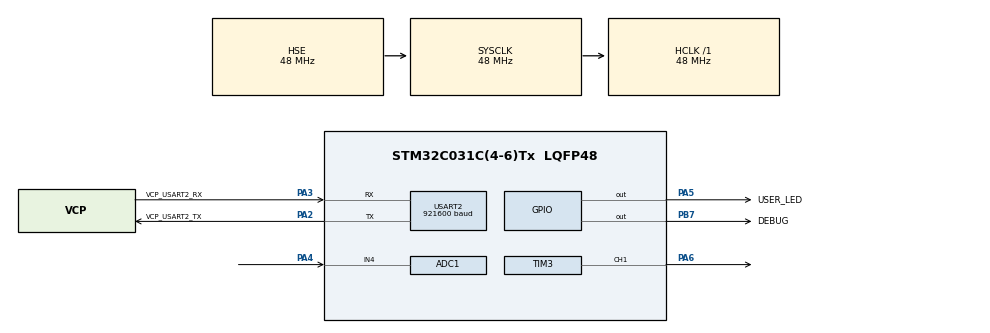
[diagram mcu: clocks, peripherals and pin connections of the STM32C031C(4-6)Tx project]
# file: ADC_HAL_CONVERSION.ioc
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ADC1.ClockPrescaler=ADC_CLOCK_ASYNC_DIV1
ADC1.ContinuousConvMode=ENABLE
ADC1.DMAContinuousRequests=DISABLE
ADC1.ExternalTrigConv=ADC_EXTERNALTRIG_T3_TRGO
ADC1.NbrOfConversionFlag=0
ADC1.Resolution=ADC_RESOLUTION_12B
ADC1.SamplingTimeCommon1=ADC_SAMPLETIME_39CYCLES_5
ADC1.SelectedChannel=ADC_CHANNEL_4
ADC1.master=1
Dma.ADC1.0.Direction=DMA_PERIPH_TO_MEMORY
Dma.ADC1.0.EventEnable=DISABLE
Dma.ADC1.0.Instance=DMA1_Channel2
Dma.ADC1.0.MemDataAlignment=DMA_MDATAALIGN_HALFWORD
Dma.ADC1.0.MemInc=DMA_MINC_ENABLE
Dma.ADC1.0.Mode=DMA_CIRCULAR
Dma.ADC1.0.PeriphDataAlignment=DMA_PDATAALIGN_HALFWORD
Dma.ADC1.0.PeriphInc=DMA_PINC_DISABLE
Dma.ADC1.0.Polarity=HAL_DMAMUX_REQ_GEN_RISING
Dma.ADC1.0.Priority=DMA_PRIORITY_LOW
Dma.ADC1.0.RequestNumber=1
Dma.ADC1.0.SignalID=NONE
Dma.ADC1.0.SyncEnable=DISABLE
Dma.ADC1.0.SyncPolarity=HAL_DMAMUX_SYNC_NO_EVENT
Dma.ADC1.0.SyncRequestNumber=1
Dma.ADC1.0.SyncSignalID=NONE
Dma.Request0=ADC1
Dma.Request1=USART2_TX
Dma.USART2_TX.1.Direction=DMA_MEMORY_TO_PERIPH
Dma.USART2_TX.1.EventEnable=DISABLE
Dma.USART2_TX.1.Instance=DMA1_Channel1
Dma.USART2_TX.1.MemDataAlignment=DMA_MDATAALIGN_BYTE
Dma.USART2_TX.1.MemInc=DMA_MINC_ENABLE
Dma.USART2_TX.1.Mode=DMA_NORMAL
Dma.USART2_TX.1.PeriphDataAlignment=DMA_PDATAALIGN_BYTE
Dma.USART2_TX.1.PeriphInc=DMA_PINC_DISABLE
Dma.USART2_TX.1.Polarity=HAL_DMAMUX_REQ_GEN_RISING
Dma.USART2_TX.1.Priority=DMA_PRIORITY_LOW
Dma.USART2_TX.1.RequestNumber=1
Dma.USART2_TX.1.SignalID=NONE
Dma.USART2_TX.1.SyncEnable=DISABLE
Dma.USART2_TX.1.SyncPolarity=HAL_DMAMUX_SYNC_NO_EVENT
Dma.USART2_TX.1.SyncRequestNumber=1
Dma.USART2_TX.1.SyncSignalID=NONE
Mcu.Family=STM32C0
Mcu.Name=STM32C031C(4-6)Tx
Mcu.Package=LQFP48
NVIC.ADC1_IRQn=true\:0\:0\:false\:false\:true\:true\:true\:true
NVIC.DMA1_Channel1_IRQn=true\:0\:0\:false\:false\:true\:false\:true\:true
NVIC.DMA1_Channel2_3_IRQn=true\:0\:0\:false\:false\:true\:false\:true\:true
PA13.GPIO_Label=DEBUG_SWDIO
PA13.Signal=DEBUG_SWDIO
PA14-BOOT0.GPIO_Label=DEBUG_SWCLK
PA14-BOOT0.Signal=DEBUG_SWCLK
PA2.GPIO_Label=VCP_USART2_TX
PA2.Mode=Asynchronous
PA2.Signal=USART2_TX
PA3.GPIO_Label=VCP_USART2_RX
PA3.Mode=Asynchronous
PA3.Signal=USART2_RX
PA4.Mode=IN4
PA4.Signal=ADC1_IN4
PA5.GPIO_Label=USER_LED
PA5.Signal=GPIO_Output
PA6.Signal=S_TIM3_CH1
PB7.GPIO_Label=DEBUG
PB7.Signal=GPIO_Output
PC14-OSCX_IN\ (PC14).GPIO_Label=RCC_OSCX_IN
PC14-OSCX_IN\ (PC14).Mode=LSE-External-Oscillator
PC14-OSCX_IN\ (PC14).Signal=RCC_OSCX_IN
PC15-OSCX_OUT\ (PC15).GPIO_Label=RCC_OSCX_OUT
PC15-OSCX_OUT\ (PC15).Mode=LSE-External-Oscillator
PC15-OSCX_OUT\ (PC15).Signal=RCC_OSCX_OUT
PF0-OSC_IN\ (PF0).GPIO_Label=RCC_OSC_IN
PF0-OSC_IN\ (PF0).Mode=HSE-External-Oscillator
PF0-OSC_IN\ (PF0).Signal=RCC_OSC_IN
PF1-OSC_OUT\ (PF1).GPIO_Label=RCC_OSC_OUT
PF1-OSC_OUT\ (PF1).Mode=HSE-External-Oscillator
PF1-OSC_OUT\ (PF1).Signal=RCC_OSC_OUT
ProjectManager.HeapSize=0x200
ProjectManager.StackSize=0x400
ProjectManager.TargetToolchain=STM32CubeIDE
RCC.ADCFreq_Value=48000000
RCC.AHBFreq_Value=48000000
RCC.CortexFreq_Value=48000000
RCC.EXTERNAL_CLOCK_VALUE=12288000
RCC.HCLKFreq_Value=48000000
RCC.HSE_VALUE=48000000
RCC.HSISYSCLKDivider=RCC_HSI_DIV1
RCC.HSI_VALUE=48000000
RCC.SYSCLKFreq_VALUE=48000000
RCC.SYSCLKSource=RCC_SYSCLKSOURCE_HSE
SH.S_TIM3_CH1.0=TIM3_CH1,PWM Generation1 CH1
TIM3.Channel-PWM\ Generation1\ CH1=TIM_CHANNEL_1
TIM3.Period=2399
TIM3.Pulse-PWM\ Generation1\ CH1=1199
TIM3.TIM_MasterOutputTrigger=TIM_TRGO_UPDATE
USART2.BaudRate=921600
USART2.VirtualMode-Asynchronous=VM_ASYNC
VP_TIM3_VS_ClockSourceINT.Mode=Internal
board=NUCLEO-C031C6

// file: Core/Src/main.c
/* USER CODE BEGIN Header */
/**
  ******************************************************************************
  * @file           : main.c
  * @brief          : Main program body
  ******************************************************************************
  * @attention
  *
  * Copyright (c) 2026 STMicroelectronics.
  * All rights reserved.
  *
  * This software is licensed under terms that can be found in the LICENSE file
  * in the root directory of this software component.
  * If no LICENSE file comes with this software, it is provided AS-IS.
  *
  ******************************************************************************
  */
/* USER CODE END Header */
#include "main.h"

/* USER CODE BEGIN Includes */
#include <string.h>
#include <stdio.h>
/* USER CODE END Includes */

ADC_HandleTypeDef hadc1;
DMA_HandleTypeDef hdma_adc1;

TIM_HandleTypeDef htim3;

UART_HandleTypeDef huart2;
DMA_HandleTypeDef hdma_usart2_tx;

/* USER CODE BEGIN PV */
volatile uint32_t adc_value;
volatile uint8_t adc_ready;
volatile uint8_t adc_half;
uint16_t adc_buffer[256];
/* USER CODE END PV */

void SystemClock_Config(void);
static void MX_GPIO_Init(void);
static void MX_DMA_Init(void);
static void MX_ADC1_Init(void);
static void MX_USART2_UART_Init(void);
static void MX_TIM3_Init(void);

/* USER CODE BEGIN 0 */
void HAL_ADC_ConvHalfCpltCallback(ADC_HandleTypeDef *hadc)
{
	adc_half = 1;
}

void HAL_ADC_ConvCpltCallback(ADC_HandleTypeDef *hadc)
{
	adc_ready = 1;
}
/* USER CODE END 0 */

int main(void)
{

  /* MCU Configuration--------------------------------------------------------*/

  /* Reset of all peripherals, Initializes the Flash interface and the Systick. */
  HAL_Init();

  /* Configure the system clock */
  SystemClock_Config();

  /* Initialize all configured peripherals */
  MX_GPIO_Init();
  MX_DMA_Init();
  MX_ADC1_Init();
  MX_USART2_UART_Init();
  MX_TIM3_Init();
  /* USER CODE BEGIN 2 */

  HAL_TIM_Base_Start(&htim3);
  HAL_TIM_PWM_Start(&htim3,TIM_CHANNEL_1);
  HAL_ADC_Start_DMA(&hadc1,(uint32_t*) adc_buffer, 256);

  /* USER CODE END 2 */

  /* Infinite loop */
  /* USER CODE BEGIN WHILE */

  while (1)
  {
	  if(adc_half == 1){
		  adc_half = 0;
		  HAL_UART_Transmit_DMA(&huart2,(uint8_t*) &adc_buffer[0], 256);
		  HAL_GPIO_WritePin(DEBUG_GPIO_Port, DEBUG_Pin, SET);
	  }

	  if(adc_ready ==1){
		  adc_ready = 0;
		  HAL_UART_Transmit_DMA(&huart2,(uint8_t*) &adc_buffer[128], 256);
		  HAL_GPIO_WritePin(DEBUG_GPIO_Port, DEBUG_Pin, RESET);
	  }

    /* USER CODE END WHILE */

  }
}

void SystemClock_Config(void)
{
  RCC_OscInitTypeDef RCC_OscInitStruct = {0};
  RCC_ClkInitTypeDef RCC_ClkInitStruct = {0};

  __HAL_FLASH_SET_LATENCY(FLASH_LATENCY_1);

  /** Initializes the RCC Oscillators according to the specified parameters
  * in the RCC_OscInitTypeDef structure.
  */
  RCC_OscInitStruct.OscillatorType = RCC_OSCILLATORTYPE_HSE;
  RCC_OscInitStruct.HSEState = RCC_HSE_ON;
  if (HAL_RCC_OscConfig(&RCC_OscInitStruct) != HAL_OK)
  {
    Error_Handler();
  }

  /** Initializes the CPU, AHB and APB buses clocks
  */
  RCC_ClkInitStruct.ClockType = RCC_CLOCKTYPE_HCLK|RCC_CLOCKTYPE_SYSCLK
                              |RCC_CLOCKTYPE_PCLK1;
  RCC_ClkInitStruct.SYSCLKSource = RCC_SYSCLKSOURCE_HSE;
  RCC_ClkInitStruct.SYSCLKDivider = RCC_SYSCLK_DIV1;
  RCC_ClkInitStruct.AHBCLKDivider = RCC_HCLK_DIV1;
  RCC_ClkInitStruct.APB1CLKDivider = RCC_APB1_DIV1;

  if (HAL_RCC_ClockConfig(&RCC_ClkInitStruct, FLASH_LATENCY_1) != HAL_OK)
  {
    Error_Handler();
  }
}

static void MX_ADC1_Init(void)
{

  ADC_ChannelConfTypeDef sConfig = {0};

  /** Configure the global features of the ADC (Clock, Resolution, Data Alignment and number of conversion)
  */
  hadc1.Instance = ADC1;
  hadc1.Init.ClockPrescaler = ADC_CLOCK_ASYNC_DIV1;
  hadc1.Init.Resolution = ADC_RESOLUTION_12B;
  hadc1.Init.DataAlign = ADC_DATAALIGN_RIGHT;
  hadc1.Init.ScanConvMode = ADC_SCAN_SEQ_FIXED;
  hadc1.Init.EOCSelection = ADC_EOC_SINGLE_CONV;
  hadc1.Init.LowPowerAutoWait = DISABLE;
  hadc1.Init.LowPowerAutoPowerOff = DISABLE;
  hadc1.Init.ContinuousConvMode = DISABLE;
  hadc1.Init.NbrOfConversion = 1;
  hadc1.Init.DiscontinuousConvMode = DISABLE;
  hadc1.Init.ExternalTrigConv = ADC_EXTERNALTRIG_T3_TRGO;
  hadc1.Init.ExternalTrigConvEdge = ADC_EXTERNALTRIGCONVEDGE_RISING;
  hadc1.Init.DMAContinuousRequests = ENABLE;
  hadc1.Init.Overrun = ADC_OVR_DATA_PRESERVED;
  hadc1.Init.SamplingTimeCommon1 = ADC_SAMPLETIME_39CYCLES_5;
  hadc1.Init.OversamplingMode = DISABLE;
  hadc1.Init.TriggerFrequencyMode = ADC_TRIGGER_FREQ_HIGH;
  if (HAL_ADC_Init(&hadc1) != HAL_OK)
  {
    Error_Handler();
  }

  /** Configure Regular Channel
  */
  sConfig.Channel = ADC_CHANNEL_4;
  sConfig.Rank = ADC_RANK_CHANNEL_NUMBER;
  if (HAL_ADC_ConfigChannel(&hadc1, &sConfig) != HAL_OK)
  {
    Error_Handler();
  }

}

static void MX_TIM3_Init(void)
{

  TIM_ClockConfigTypeDef sClockSourceConfig = {0};
  TIM_MasterConfigTypeDef sMasterConfig = {0};
  TIM_OC_InitTypeDef sConfigOC = {0};

  htim3.Instance = TIM3;
  htim3.Init.Prescaler = 0;
  htim3.Init.CounterMode = TIM_COUNTERMODE_UP;
  htim3.Init.Period = 2399;
  htim3.Init.ClockDivision = TIM_CLOCKDIVISION_DIV1;
  htim3.Init.AutoReloadPreload = TIM_AUTORELOAD_PRELOAD_DISABLE;
  if (HAL_TIM_Base_Init(&htim3) != HAL_OK)
  {
    Error_Handler();
  }
  sClockSourceConfig.ClockSource = TIM_CLOCKSOURCE_INTERNAL;
  if (HAL_TIM_ConfigClockSource(&htim3, &sClockSourceConfig) != HAL_OK)
  {
    Error_Handler();
  }
  if (HAL_TIM_PWM_Init(&htim3) != HAL_OK)
  {
    Error_Handler();
  }
  sMasterConfig.MasterOutputTrigger = TIM_TRGO_UPDATE;
  sMasterConfig.MasterSlaveMode = TIM_MASTERSLAVEMODE_DISABLE;
  if (HAL_TIMEx_MasterConfigSynchronization(&htim3, &sMasterConfig) != HAL_OK)
  {
    Error_Handler();
  }
  sConfigOC.OCMode = TIM_OCMODE_PWM1;
  sConfigOC.Pulse = 1199;
  sConfigOC.OCPolarity = TIM_OCPOLARITY_HIGH;
  sConfigOC.OCFastMode = TIM_OCFAST_DISABLE;
  if (HAL_TIM_PWM_ConfigChannel(&htim3, &sConfigOC, TIM_CHANNEL_1) != HAL_OK)
  {
    Error_Handler();
  }
  HAL_TIM_MspPostInit(&htim3);

}

static void MX_USART2_UART_Init(void)
{

  huart2.Instance = USART2;
  huart2.Init.BaudRate = 921600;
  huart2.Init.WordLength = UART_WORDLENGTH_8B;
  huart2.Init.StopBits = UART_STOPBITS_1;
  huart2.Init.Parity = UART_PARITY_NONE;
  huart2.Init.Mode = UART_MODE_TX_RX;
  huart2.Init.HwFlowCtl = UART_HWCONTROL_NONE;
  huart2.Init.OverSampling = UART_OVERSAMPLING_16;
  huart2.Init.OneBitSampling = UART_ONE_BIT_SAMPLE_DISABLE;
  huart2.Init.ClockPrescaler = UART_PRESCALER_DIV1;
  huart2.AdvancedInit.AdvFeatureInit = UART_ADVFEATURE_NO_INIT;
  if (HAL_UART_Init(&huart2) != HAL_OK)
  {
    Error_Handler();
  }

}

static void MX_DMA_Init(void)
{

  /* DMA controller clock enable */
  __HAL_RCC_DMA1_CLK_ENABLE();

  /* DMA interrupt init */
  /* DMA1_Channel1_IRQn interrupt configuration */
  HAL_NVIC_SetPriority(DMA1_Channel1_IRQn, 0, 0);
  HAL_NVIC_EnableIRQ(DMA1_Channel1_IRQn);
  /* DMA1_Channel2_3_IRQn interrupt configuration */
  HAL_NVIC_SetPriority(DMA1_Channel2_3_IRQn, 0, 0);
  HAL_NVIC_EnableIRQ(DMA1_Channel2_3_IRQn);

}

static void MX_GPIO_Init(void)
{
  GPIO_InitTypeDef GPIO_InitStruct = {0};

  /* GPIO Ports Clock Enable */
  __HAL_RCC_GPIOC_CLK_ENABLE();
  __HAL_RCC_GPIOF_CLK_ENABLE();
  __HAL_RCC_GPIOA_CLK_ENABLE();
  __HAL_RCC_GPIOB_CLK_ENABLE();

  /*Configure GPIO pin Output Level */
  HAL_GPIO_WritePin(USER_LED_GPIO_Port, USER_LED_Pin, GPIO_PIN_RESET);

  /*Configure GPIO pin Output Level */
  HAL_GPIO_WritePin(DEBUG_GPIO_Port, DEBUG_Pin, GPIO_PIN_RESET);

  /*Configure GPIO pin : USER_LED_Pin */
  GPIO_InitStruct.Pin = USER_LED_Pin;
  GPIO_InitStruct.Mode = GPIO_MODE_OUTPUT_PP;
  GPIO_InitStruct.Pull = GPIO_NOPULL;
  GPIO_InitStruct.Speed = GPIO_SPEED_FREQ_LOW;
  HAL_GPIO_Init(USER_LED_GPIO_Port, &GPIO_InitStruct);

  /*Configure GPIO pin : DEBUG_Pin */
  GPIO_InitStruct.Pin = DEBUG_Pin;
  GPIO_InitStruct.Mode = GPIO_MODE_OUTPUT_PP;
  GPIO_InitStruct.Pull = GPIO_NOPULL;
  GPIO_InitStruct.Speed = GPIO_SPEED_FREQ_LOW;
  HAL_GPIO_Init(DEBUG_GPIO_Port, &GPIO_InitStruct);

}

void Error_Handler(void)
{
  __disable_irq();
  while (1)
  {
  }
}
